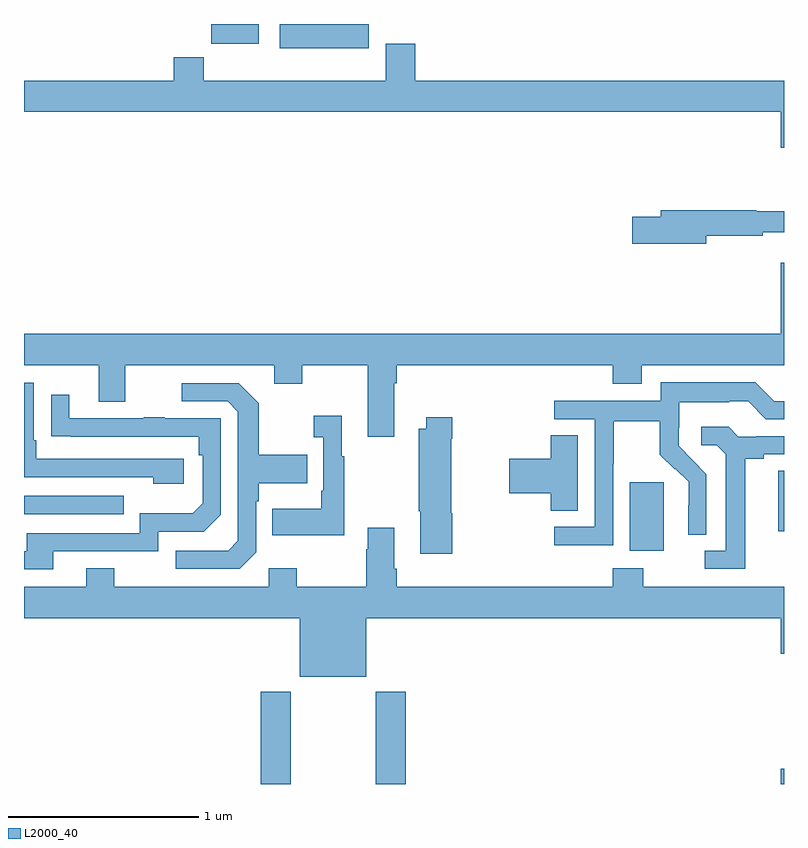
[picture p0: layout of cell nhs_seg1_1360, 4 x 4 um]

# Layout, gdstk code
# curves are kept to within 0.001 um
import gdstk
lib = gdstk.Library(unit=1e-6, precision=1e-09)
def R(c, l, rs):  # rectangles x0, y0, x1, y1
    for r in rs: c.add(gdstk.rectangle(r[:2], r[2:], *l))
def P(c, l, *ps):  # polygons
    for p in ps: c.add(gdstk.Polygon(p, *l))
L2000_40 = (2000, 40)

nhs_seg1_1360 = lib.new_cell('nhs_seg1_1360')
R(nhs_seg1_1360, L2000_40, [(186.245,544.199,186.405,544.684), (186.85,544.199,187.01,544.684), (188.984,544.199,189,544.279), (188.189,545.426,188.368,545.787), (188.969,545.529,189,545.849), (185,545.619,185.525,545.715), (186.345,548.072,186.814,548.199), (185.986,548.094,186.235,548.199)])
P(nhs_seg1_1360, L2000_40, [(189,547.9),(187.058,547.9),(187.058,548.095),(186.905,548.095),(186.905,547.9),(185.945,547.9),(185.945,548.024),(185.789,548.024),(185.789,547.9),(185,547.9),(185,547.736),(188.984,547.736),(188.984,547.548),(189,547.548)],
  [(188.59,547.084),(188.888,547.084),(188.888,547.103),(189,547.103),(189,547.213),(188.855,547.213),(188.855,547.22),(188.351,547.22),(188.351,547.184),(188.202,547.184),(188.202,547.042),(188.59,547.042)],
  [(186.949,546.308),(186.962,546.308),(186.962,546.404),(188.099,546.404),(188.099,546.305),(188.251,546.305),(188.251,546.404),(189,546.404),(189,546.943),(188.984,546.943),(188.984,546.568),(185,546.568),(185,546.404),(185.393,546.404),(185.393,546.21),(185.533,546.21),(185.533,546.404),(186.317,546.404),(186.317,546.305),(186.465,546.305),(186.465,546.404),(186.809,546.404),(186.809,546.027),(186.949,546.027)],
  [(188.1,545.884),(188.103,545.884),(188.103,546.108),(188.347,546.108),(188.347,545.933),(188.424,545.856),(188.427,545.859),(188.498,545.789),(188.498,545.666),(188.496,545.666),(188.496,545.512),(188.592,545.512),(188.592,545.83),(188.446,545.978),(188.446,546.075),(188.448,546.075),(188.448,546.209),(188.711,546.209),(188.711,546.213),(188.811,546.213),(188.904,546.12),(189,546.12),(189,546.213),(188.949,546.213),(188.849,546.313),(188.352,546.313),(188.352,546.216),(187.791,546.216),(187.791,546.12),(188.004,546.12),(188.004,545.553),(187.791,545.553),(187.791,545.455),(188.1,545.455)],
  [(185.842,545.91),(185.065,545.91),(185.065,546.007),(185.052,546.007),(185.052,546.312),(185,546.312),(185,545.814),(185.681,545.814),(185.681,545.78),(185.842,545.78)],
  [(186.222,545.418),(186.222,545.687),(186.235,545.687),(186.235,545.783),(186.491,545.783),(186.491,545.931),(186.235,545.931),(186.235,546.203),(186.129,546.309),(185.829,546.309),(185.829,546.213),(186.072,546.213),(186.126,546.159),(186.126,545.478),(186.075,545.427),(185.799,545.427),(185.799,545.331),(186.135,545.331)],
  [(185.155,545.424),(185.706,545.424),(185.706,545.526),(185.946,545.526),(186.036,545.616),(186.036,546.123),(185.741,546.123),(185.741,546.128),(185.629,546.128),(185.629,546.123),(185.239,546.123),(185.239,546.247),(185.143,546.247),(185.143,546.028),(185.92,546.027),(185.92,545.93),(185.94,545.93),(185.94,545.676),(185.887,545.623),(185.61,545.623),(185.61,545.52),(185.015,545.52),(185.015,545.424),(185,545.424),(185,545.328),(185.155,545.328)],
  [(186.685,545.923),(186.673,545.923),(186.673,546.136),(186.525,546.136),(186.525,546.023),(186.576,546.023),(186.576,545.743),(186.564,545.743),(186.564,545.647),(186.307,545.647),(186.307,545.507),(186.685,545.507)],
  [(187.253,545.624),(187.248,545.624),(187.248,546.017),(187.253,546.017),(187.253,546.13),(187.118,546.13),(187.118,546.07),(187.078,546.07),(187.078,545.635),(187.085,545.635),(187.085,545.412),(187.253,545.412)],
  [(188.797,545.912),(188.893,545.912),(188.893,545.934),(189,545.934),(189,546.03),(188.854,546.03),(188.854,546.027),(188.76,546.027),(188.708,546.079),(188.565,546.079),(188.565,545.982),(188.646,545.982),(188.693,545.935),(188.693,545.427),(188.583,545.427),(188.583,545.331),(188.797,545.331)],
  [(187.915,546.035),(187.772,546.035),(187.772,545.912),(187.554,545.912),(187.554,545.729),(187.772,545.729),(187.772,545.638),(187.915,545.638)],
  [(186.802,545.072),(188.984,545.072),(188.984,544.884),(189,544.884),(189,545.236),(188.259,545.236),(188.259,545.335),(188.099,545.335),(188.099,545.236),(186.962,545.236),(186.962,545.332),(186.949,545.332),(186.949,545.548),(186.809,545.548),(186.809,545.435),(186.802,545.435),(186.802,545.236),(186.435,545.236),(186.435,545.335),(186.288,545.335),(186.288,545.236),(185.475,545.236),(185.475,545.335),(185.327,545.335),(185.327,545.236),(185,545.236),(185,545.072),(186.452,545.072),(186.452,544.763),(186.802,544.763)])

lib.write_gds('nhs_seg1_1360.gds')
